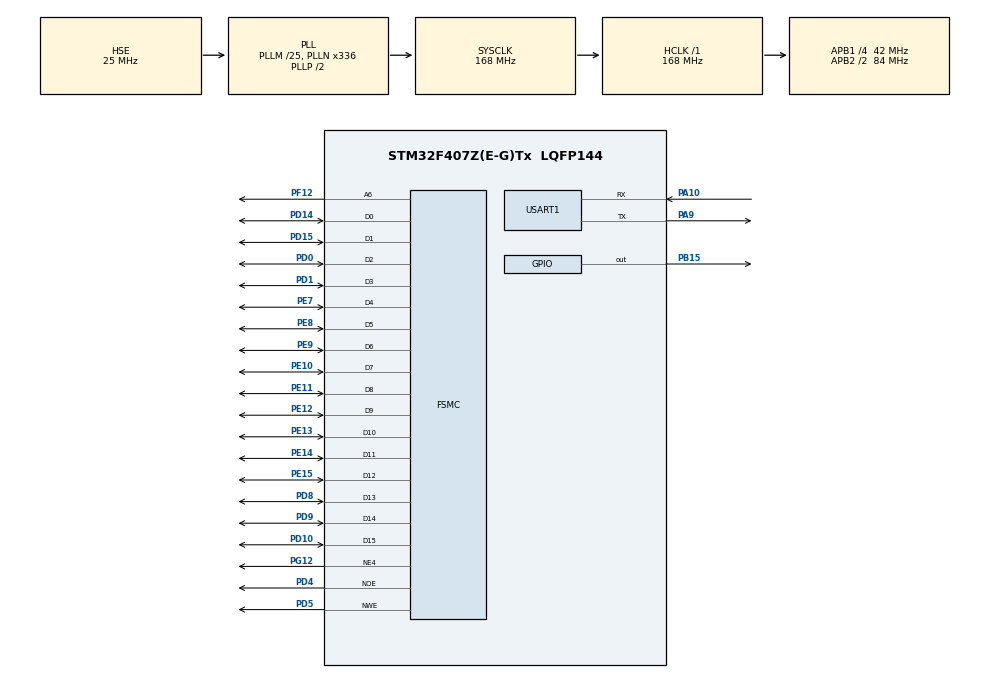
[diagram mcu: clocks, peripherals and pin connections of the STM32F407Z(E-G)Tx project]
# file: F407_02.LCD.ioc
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Mcu.Family=STM32F4
FSMC.AddressSetupTime1=2
PH0-OSC_IN.Signal=RCC_OSC_IN
RCC.CortexFreq_Value=168000000
SH.FSMC_D1_DA1.0=FSMC_D1,16b-d1
SH.FSMC_A6.0=FSMC_A6,A6_1
SH.FSMC_NWE.0=FSMC_NWE,Lcd1
SH.FSMC_D0_DA0.0=FSMC_D0,16b-d1
PB15.Signal=GPIO_Output
RCC.SYSCLKSource=RCC_SYSCLKSOURCE_PLLCLK
ProjectManager.StackSize=0x400
VP_TIM7_VS_ClockSourceINT.Mode=Enable_Timer
RCC.HCLKFreq_Value=168000000
PD4.Signal=FSMC_NOE
RCC.APB2TimFreq_Value=168000000
PF12.Signal=FSMC_A6
PD0.Signal=FSMC_D2_DA2
TIM7.Period=10000-1
PD8.Signal=FSMC_D13_DA13
RCC.AHBFreq_Value=168000000
PH0-OSC_IN.Mode=HSE-External-Oscillator
RCC.HSE_VALUE=25000000
PE13.Signal=FSMC_D10_DA10
SH.FSMC_D14_DA14.0=FSMC_D14,16b-d1
PC14-OSC32_IN.Mode=LSE-External-Oscillator
SH.FSMC_D10_DA10.0=FSMC_D10,16b-d1
PE9.Signal=FSMC_D6_DA6
PA14.Mode=Serial_Wire
SH.FSMC_D6_DA6.0=FSMC_D6,16b-d1
PE10.Signal=FSMC_D7_DA7
SH.FSMC_D5_DA5.0=FSMC_D5,16b-d1
SH.FSMC_D4_DA4.0=FSMC_D4,16b-d1
PH1-OSC_OUT.Mode=HSE-External-Oscillator
Mcu.Package=LQFP144
PB15.GPIO_PuPd=GPIO_PULLUP
SH.FSMC_D13_DA13.0=FSMC_D13,16b-d1
PA10.Signal=USART1_RX
RCC.APB2CLKDivider=RCC_HCLK_DIV2
SH.FSMC_D3_DA3.0=FSMC_D3,16b-d1
RCC.APB1TimFreq_Value=84000000
SH.FSMC_D2_DA2.0=FSMC_D2,16b-d1
PE7.Signal=FSMC_D4_DA4
PD15.Signal=FSMC_D1_DA1
NVIC.TIM7_IRQn=true\:0\:0\:false\:false\:true\:true\:true
PG12.Signal=FSMC_NE4
RCC.PLLSourceVirtual=RCC_PLLSOURCE_HSE
FSMC.ExtendedAddressSetupTime1=0
PC15-OSC32_OUT.Mode=LSE-External-Oscillator
SH.FSMC_D12_DA12.0=FSMC_D12,16b-d1
PA10.Mode=Asynchronous
FSMC.ExtendedMode1=FSMC_EXTENDED_MODE_ENABLE
PD1.Signal=FSMC_D3_DA3
SH.FSMC_D9_DA9.0=FSMC_D9,16b-d1
PD9.Signal=FSMC_D14_DA14
PD5.Signal=FSMC_NWE
RCC.APB1CLKDivider=RCC_HCLK_DIV4
PC14-OSC32_IN.Signal=RCC_OSC32_IN
SH.FSMC_D8_DA8.0=FSMC_D8,16b-d1
PD10.Signal=FSMC_D15_DA15
PA13.Signal=SYS_JTMS-SWDIO
PA9.Mode=Asynchronous
ProjectManager.TargetToolchain=STM32CubeIDE
FSMC.DataSetupTime1=15
PA9.Signal=USART1_TX
PE11.Signal=FSMC_D8_DA8
PC15-OSC32_OUT.Signal=RCC_OSC32_OUT
SH.FSMC_D7_DA7.0=FSMC_D7,16b-d1
FSMC.ExtendedDataSetupTime1=3
TIM7.Prescaler=33600-1
board=custom
PG12.Mode=NorPsramChipSelect4_1
RCC.VCOOutputFreq_Value=336000000
RCC.APB2Freq_Value=84000000
PE14.Signal=FSMC_D11_DA11
PE15.Signal=FSMC_D12_DA12
PE8.Signal=FSMC_D5_DA5
PB15.GPIO_Speed=GPIO_SPEED_FREQ_HIGH
PH1-OSC_OUT.Signal=RCC_OSC_OUT
PA13.Mode=Serial_Wire
Mcu.Name=STM32F407Z(E-G)Tx
PE12.Signal=FSMC_D9_DA9
PD14.Signal=FSMC_D0_DA0
RCC.48MHZClocksFreq_Value=84000000
RCC.SYSCLKFreq_VALUE=168000000
USART1.VirtualMode=VM_ASYNC
SH.FSMC_D15_DA15.0=FSMC_D15,16b-d1
PA14.Signal=SYS_JTCK-SWCLK
ProjectManager.HeapSize=0x200
SH.FSMC_D11_DA11.0=FSMC_D11,16b-d1
SH.FSMC_NOE.0=FSMC_NOE,Lcd1
RCC.HSI_VALUE=16000000
NVIC.PriorityGroup=NVIC_PRIORITYGROUP_4
RCC.PLLM=25
RCC.PLLN=336
RCC.APB1Freq_Value=42000000

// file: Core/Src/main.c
/* USER CODE BEGIN Header */
/**
 ******************************************************************************
 * @file           : main.c
 * @brief          : Main program body
 ******************************************************************************
 * @attention
 *
 * <h2><center>&copy; Copyright (c) 2021 STMicroelectronics.
 * All rights reserved.</center></h2>
 *
 * This software component is licensed by ST under BSD 3-Clause license,
 * the "License"; You may not use this file except in compliance with the
 * License. You may obtain a copy of the License at:
 *                        opensource.org/licenses/BSD-3-Clause
 *
 ******************************************************************************
 */
/* USER CODE END Header */
#include "main.h"
#include "tim.h"
#include "usart.h"
#include "gpio.h"
#include "fsmc.h"

/* USER CODE BEGIN Includes */
#include "lcd.h"
/* USER CODE END Includes */

void SystemClock_Config(void);

int main(void)
{

  /* MCU Configuration--------------------------------------------------------*/

  /* Reset of all peripherals, Initializes the Flash interface and the Systick. */
  HAL_Init();

  /* Configure the system clock */
  SystemClock_Config();

  /* Initialize all configured peripherals */
  MX_GPIO_Init();
  MX_FSMC_Init();
  MX_USART1_UART_Init();
  MX_TIM7_Init();
  /* USER CODE BEGIN 2 */
	TFTLCD_Init();
	LCD_Clear(WHITE);
	POINT_COLOR = BLACK;
  /* USER CODE END 2 */

  /* Infinite loop */
  /* USER CODE BEGIN WHILE */
	while (1) {
		LCD_ShowString(30, 30, 400, 48, 48, "STM32F407");
		LCD_ShowString(30, 100, 200, 32, 32, "This is a test");
		LCD_ShowString(30, 150, 200, 32, 32, "Auth:Aaron");
		LCD_ShowString(30, 200, 200, 32, 32, "2021/05/04");
    /* USER CODE END WHILE */

	}
}

void SystemClock_Config(void)
{
  RCC_OscInitTypeDef RCC_OscInitStruct = {0};
  RCC_ClkInitTypeDef RCC_ClkInitStruct = {0};

  /** Configure the main internal regulator output voltage
  */
  __HAL_RCC_PWR_CLK_ENABLE();
  __HAL_PWR_VOLTAGESCALING_CONFIG(PWR_REGULATOR_VOLTAGE_SCALE1);
  /** Initializes the RCC Oscillators according to the specified parameters
  * in the RCC_OscInitTypeDef structure.
  */
  RCC_OscInitStruct.OscillatorType = RCC_OSCILLATORTYPE_HSE;
  RCC_OscInitStruct.HSEState = RCC_HSE_ON;
  RCC_OscInitStruct.PLL.PLLState = RCC_PLL_ON;
  RCC_OscInitStruct.PLL.PLLSource = RCC_PLLSOURCE_HSE;
  RCC_OscInitStruct.PLL.PLLM = 25;
  RCC_OscInitStruct.PLL.PLLN = 336;
  RCC_OscInitStruct.PLL.PLLP = RCC_PLLP_DIV2;
  RCC_OscInitStruct.PLL.PLLQ = 4;
  if (HAL_RCC_OscConfig(&RCC_OscInitStruct) != HAL_OK)
  {
    Error_Handler();
  }
  /** Initializes the CPU, AHB and APB buses clocks
  */
  RCC_ClkInitStruct.ClockType = RCC_CLOCKTYPE_HCLK|RCC_CLOCKTYPE_SYSCLK
                              |RCC_CLOCKTYPE_PCLK1|RCC_CLOCKTYPE_PCLK2;
  RCC_ClkInitStruct.SYSCLKSource = RCC_SYSCLKSOURCE_PLLCLK;
  RCC_ClkInitStruct.AHBCLKDivider = RCC_SYSCLK_DIV1;
  RCC_ClkInitStruct.APB1CLKDivider = RCC_HCLK_DIV4;
  RCC_ClkInitStruct.APB2CLKDivider = RCC_HCLK_DIV2;

  if (HAL_RCC_ClockConfig(&RCC_ClkInitStruct, FLASH_LATENCY_5) != HAL_OK)
  {
    Error_Handler();
  }
}

/* USER CODE BEGIN 4 */
// 须在头文件中添加 #include <stdio.h>
//////////////////////////////////////////////////////////////////
// 加入以下代码,支持printf函数,而不需要选择use MicroLIB
// MDK中同样定义了 __GNUC__，使用__ARMCC_VERSION 或  __CC_ARM 区分MDK和STM32CubeIDE
// MDK预定义宏，详见 ：https://www.keil.com/support/man/docs/armcc/armcc_chr1359125007083.htm
#ifdef __CC_ARM // 或 #ifdef __ARMCC_VERSION
  #define PUTCHAR_PROTOTYPE int fputc(int ch, FILE *f)
#else
#define PUTCHAR_PROTOTYPE int __io_putchar(int ch)
#endif
#if 1

FILE __stdout;
//定义_sys_exit()以避免使用半主机模式
void _sys_exit(int x) {
	x = x;
}
//重定义fputc函数
PUTCHAR_PROTOTYPE {
	// 具体哪个串口可以更改huart2为其它串口
	// HAL_UART_Transmit(&huart2, (uint8_t *)&ch, 1 , 0xffff);
	while ((USART1->SR & 0X40) == 0) {
	}; //循环发送,直到发送完毕
	USART1->DR = (uint8_t) ch;

//  while ((USART2->SR & 0X40) == 0) {
//  }; //循环发送,直到发送完毕
//  USART2->DR = (uint8_t) ch;

	return ch;
}
#endif

/* USER CODE END 4 */

void Error_Handler(void)
{
	__disable_irq();
	while (1) {
	}
}

/************************ (C) COPYRIGHT STMicroelectronics *****END OF FILE****/
